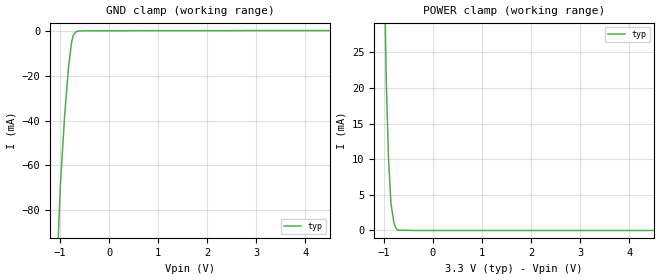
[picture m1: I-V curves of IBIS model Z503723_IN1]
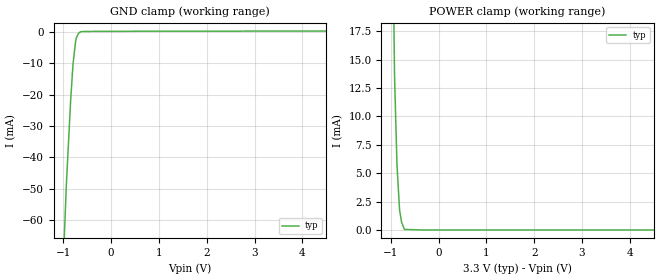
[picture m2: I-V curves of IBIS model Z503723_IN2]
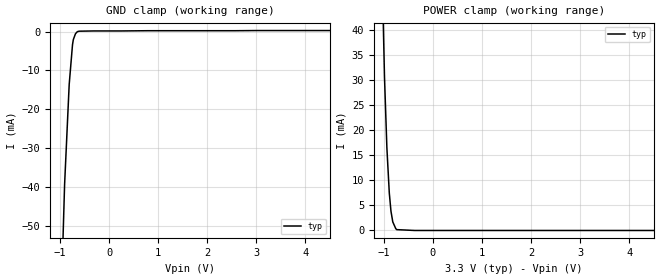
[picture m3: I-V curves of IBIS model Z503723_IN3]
| YOU ARE ONLY AUTHORIZED TO USE THIS SOFTWARE
| ACCORDING TO LICENSOR'S LICENSE RESTRICTIONS.
[IBIS Ver] 3.1
[File Name] mc74ac138n_33.ibs
[File Rev] 2.0
[Source] Measured and created by ICX Technology
[Date] Friday 7/14/00 9:07:58 AM
[Copyright]
| (C) COPYRIGHT 1993-2000
| MENTOR GRAPHICS CORPORATION
| ICX STANDARD LIBRARY, ICX PROJECT MODELING,
| ICX CUSTOM MODELING, ICX VENDOR MODEL
| ALL RIGHTS RESERVED.
| THE FOLLOWING ARE TRADEMARKS OR SERVICE MARKS OF
| MENTOR GRAPHICS CORPORATION:ICX (R), ICX STANDARD
| LIBRARY(R), ICX PROJECT MODELING(R), ICX CUSTOM
| MODELING(R), qualityIBIS(TM), MODELVIEWER(TM),
| AND MODELEDITOR(TM)
| ALL COPIES OF SOFTWARE, INCLUDING BUT NOT LIMITED TO
| ANY MODIFICATIONS, ENHANCEMENTS OR DERIVATIVE WORKS,
| MUST CONTAIN ALL MENTOR GRAPHICS CORPORATION'S
| NOTICES AND LEGENDS, INCLUDING THOSE EMBEDDED IN
| SOFTWARE AND THOSE AFFIXED TO SOFTWARE MEDIUM
| AND CONTAINER, AS RECEIVED FROM MENTOR GRAPHICS
| CORPORATION.
|  ZAP Model Builder 2.7
[Component] MC74AC138N_33
[Manufacturer] OnSemiconductor
[Package]
| variable   typ   min   max
R_pkg  .212ohms NA NA
L_pkg  4.758nH NA NA
C_pkg  1.143pF NA NA
[Pin] signal_name  model_name  R_pin  L_pin C_pin
1 A Z503723_IN1 .224 7.258n 1.578p
2 B Z503723_IN1 .216 5.258n 1.288p
3 C Z503723_IN1 .208 3.758n .998p
4 _G3 Z503723_IN2 .2 2.758n .708p
5 _G2 Z503723_IN2 .2 2.758n .708p
6 G1 Z503723_IN3 .208 3.758n .998p
7 _Y7 Z503723_OUT4 .216 5.258n 1.288p
8 GND GND .224 7.258n 1.578p
9 _Y6 Z503723_OUT4 .224 7.258n 1.578p
10 _Y5 Z503723_OUT4 .216 5.258n 1.288p
11 _Y4 Z503723_OUT4 .208 3.758n .998p
12 _Y3 Z503723_OUT4 .2 2.758n .708p
13 _Y2 Z503723_OUT4 .2 2.758n .708p
14 _Y1 Z503723_OUT4 .208 3.758n .998p
15 _Y0 Z503723_OUT4 .216 5.258n 1.288p
16 VCC POWER .224 7.258n 1.578p
| Models and submodels in the file (4): Z503723_IN1 (Input), Z503723_IN2 (Input), Z503723_IN3 (Input), Z503723_OUT4 (Output)
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| (C) COPYRIGHT 1993-2000
| MENTOR GRAPHICS CORPORATION
| ICX STANDARD LIBRARY, ICX PROJECT MODELING,
| ICX CUSTOM MODELING, ICX VENDOR MODEL
| ALL RIGHTS RESERVED.
| THE FOLLOWING ARE TRADEMARKS OR SERVICE MARKS OF
| MENTOR GRAPHICS CORPORATION:ICX (R), ICX STANDARD
| LIBRARY(R), ICX PROJECT MODELING(R), ICX CUSTOM
| MODELING(R), qualityIBIS(TM), MODELVIEWER(TM),
| AND MODELEDITOR(TM)
| ALL COPIES OF SOFTWARE, INCLUDING BUT NOT LIMITED TO
| ANY MODIFICATIONS, ENHANCEMENTS OR DERIVATIVE WORKS,
| MUST CONTAIN ALL MENTOR GRAPHICS CORPORATION'S
| NOTICES AND LEGENDS, INCLUDING THOSE EMBEDDED IN
| SOFTWARE AND THOSE AFFIXED TO SOFTWARE MEDIUM
| AND CONTAINER, AS RECEIVED FROM MENTOR GRAPHICS
| CORPORATION.
| Model Application Version 1.89 2/18/99.
[Model] Z503723_IN1
Model_type Input
Vinl = 990.0mV
Vinh = 2.310V
C_comp 4.000pF NA NA
| variable typ   min   max
[Voltage Range] 3.300V NA NA
[GND Clamp Reference] 0.000V NA NA
[POWER Clamp Reference] 3.300V NA NA
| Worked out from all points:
|   GND clamp passes 1 mA (typ) near -0.70 V on its own axis
|   POWER clamp passes 1 mA (typ) near -0.79 V on its own axis
[GND Clamp]
-3.3V     -1.316A    NA         NA
-993.8mV  -68.57mA   NA         NA
-908.2mV  -38.09mA   NA         NA
-830.1mV  -16.64mA   NA         NA
-766.2mV  -4.933mA   NA         NA
-730.9mV  -1.831mA   NA         NA
-667.5mV  -166.5uA   NA         NA
-266.1mV  183.4uA    NA         NA
6.6V      268.9uA    NA         NA
[POWER Clamp]
-3.3V     2.27A      NA         NA
-1.145V   139.8mA    NA         NA
-1.036V   57.93mA    NA         NA
-953mV    21.59mA    NA         NA
-906mV    10.22mA    NA         NA
-855mV    3.819mA    NA         NA
-795mV    1.085mA    NA         NA
-757mV    356.6uA    NA         NA
-718mV    38.3uA     NA         NA
-359mV    0A         NA         NA
6.6V      0A         NA         NA
| (C) COPYRIGHT 1993-2000
| MENTOR GRAPHICS CORPORATION
| ICX STANDARD LIBRARY, ICX PROJECT MODELING,
| ICX CUSTOM MODELING, ICX VENDOR MODEL
| ALL RIGHTS RESERVED.
| THE FOLLOWING ARE TRADEMARKS OR SERVICE MARKS OF
| MENTOR GRAPHICS CORPORATION:ICX (R), ICX STANDARD
| LIBRARY(R), ICX PROJECT MODELING(R), ICX CUSTOM
| MODELING(R), qualityIBIS(TM), MODELVIEWER(TM),
| AND MODELEDITOR(TM)
| ALL COPIES OF SOFTWARE, INCLUDING BUT NOT LIMITED TO
| ANY MODIFICATIONS, ENHANCEMENTS OR DERIVATIVE WORKS,
| MUST CONTAIN ALL MENTOR GRAPHICS CORPORATION'S
| NOTICES AND LEGENDS, INCLUDING THOSE EMBEDDED IN
| SOFTWARE AND THOSE AFFIXED TO SOFTWARE MEDIUM
| AND CONTAINER, AS RECEIVED FROM MENTOR GRAPHICS
| CORPORATION.
| Model Application Version 1.89 2/18/99.
[Model] Z503723_IN2
Model_type Input
Vinl = 990.0mV
Vinh = 2.310V
C_comp 4.000pF NA NA
| variable typ   min   max
[Voltage Range] 3.300V NA NA
[GND Clamp Reference] 0.000V NA NA
[POWER Clamp Reference] 3.300V NA NA
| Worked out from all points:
|   GND clamp passes 1 mA (typ) near -0.70 V on its own axis
|   POWER clamp passes 1 mA (typ) near -0.79 V on its own axis
[GND Clamp]
-3.3V     -1.286A    NA         NA
-1.006V   -75.4mA    NA         NA
-937.5mV  -48.63mA   NA         NA
-844.8mV  -20.96mA   NA         NA
-798.4mV  -10.33mA   NA         NA
-747.1mV  -3.324mA   NA         NA
-729.9mV  -1.986mA   NA         NA
-687mV    -539.1uA   NA         NA
-647.9mV  -16.26uA   NA         NA
6.6V      262.7uA    NA         NA
[POWER Clamp]
-3.3V     1.977A     NA         NA
-1.143V   125.5mA    NA         NA
-1.012V   43.92mA    NA         NA
-923mV    13.48mA    NA         NA
-872mV    5.668mA    NA         NA
-818mV    1.76mA     NA         NA
-776mV    681.3uA    NA         NA
-718mV    50.2uA     NA         NA
-359mV    0A         NA         NA
6.6V      0A         NA         NA
| (C) COPYRIGHT 1993-2000
| MENTOR GRAPHICS CORPORATION
| ICX STANDARD LIBRARY, ICX PROJECT MODELING,
| ICX CUSTOM MODELING, ICX VENDOR MODEL
| ALL RIGHTS RESERVED.
| THE FOLLOWING ARE TRADEMARKS OR SERVICE MARKS OF
| MENTOR GRAPHICS CORPORATION:ICX (R), ICX STANDARD
| LIBRARY(R), ICX PROJECT MODELING(R), ICX CUSTOM
| MODELING(R), qualityIBIS(TM), MODELVIEWER(TM),
| AND MODELEDITOR(TM)
| ALL COPIES OF SOFTWARE, INCLUDING BUT NOT LIMITED TO
| ANY MODIFICATIONS, ENHANCEMENTS OR DERIVATIVE WORKS,
| MUST CONTAIN ALL MENTOR GRAPHICS CORPORATION'S
| NOTICES AND LEGENDS, INCLUDING THOSE EMBEDDED IN
| SOFTWARE AND THOSE AFFIXED TO SOFTWARE MEDIUM
| AND CONTAINER, AS RECEIVED FROM MENTOR GRAPHICS
| CORPORATION.
| Model Application Version 1.89 2/18/99.
[Model] Z503723_IN3
Model_type Input
Vinl = 990.0mV
Vinh = 2.310V
C_comp 4.000pF NA NA
| variable typ   min   max
[Voltage Range] 3.300V NA NA
[GND Clamp Reference] 0.000V NA NA
[POWER Clamp Reference] 3.300V NA NA
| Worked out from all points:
|   GND clamp passes 1 mA (typ) near -0.70 V on its own axis
|   POWER clamp passes 1 mA (typ) near -0.79 V on its own axis
[GND Clamp]
-3.3V     -2.021A    NA         NA
-1.015V   -85.2mA    NA         NA
-908.2mV  -39.39mA   NA         NA
-814.7mV  -13.63mA   NA         NA
-747.1mV  -3.389mA   NA         NA
-730mV    -2.049mA   NA         NA
-686.5mV  -558.6uA   NA         NA
-648.2mV  -15.88uA   NA         NA
786.6mV   227.8uA    NA         NA
6.6V      272.8uA    NA         NA
[POWER Clamp]
-3.3V     1.772A     NA         NA
-1.173V   133.9mA    NA         NA
-1.04V    53.85mA    NA         NA
-987mV    30.69mA    NA         NA
-938mV    16.5mA     NA         NA
-889mV    7.496mA    NA         NA
-855mV    3.866mA    NA         NA
-818mV    1.712mA    NA         NA
-757mV    366.8uA    NA         NA
-738mV    169.7uA    NA         NA
-369mV    0A         NA         NA
6.6V      0A         NA         NA
